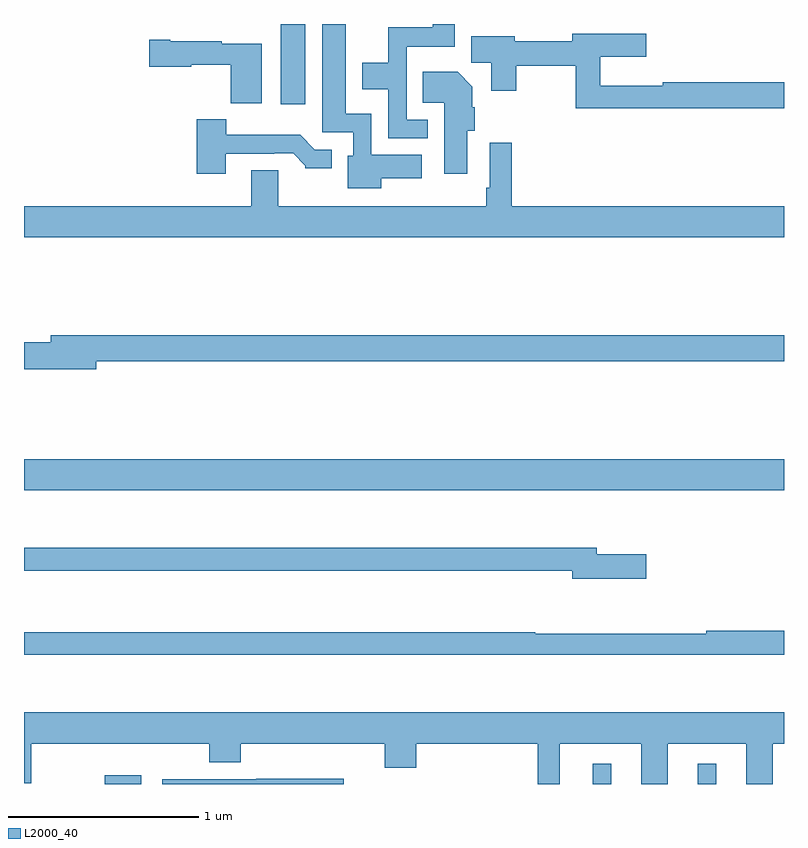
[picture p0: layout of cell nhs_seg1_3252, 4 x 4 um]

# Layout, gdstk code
import gdstk
lib = gdstk.Library(unit=1e-6, precision=1e-09)
def R(c, l, rs):  # rectangles x0, y0, x1, y1
    for r in rs: c.add(gdstk.rectangle(r[:2], r[2:], *l))
def P(c, l, *ps):  # polygons
    for p in ps: c.add(gdstk.Polygon(p, *l))
L2000_40 = (2000, 40)

nhs_seg1_3252 = lib.new_cell('nhs_seg1_3252')
R(nhs_seg1_3252, L2000_40, [(287.424,538.199,287.617,538.246), (289.994,538.199,290.092,538.306), (290.546,538.199,290.644,538.306), (287,539.744,291,539.908), (288.35,541.776,288.481,542.199)])
P(nhs_seg1_3252, L2000_40, [(289.126,541.695),(289.014,541.695),(289.014,542.078),(289.267,542.078),(289.267,542.199),(289.151,542.199),(289.151,542.182),(288.916,542.182),(288.916,541.996),(288.779,541.996),(288.779,541.856),(288.918,541.856),(288.918,541.599),(289.126,541.599)],
  [(288.881,541.388),(289.093,541.388),(289.093,541.51),(288.828,541.51),(288.828,541.726),(288.694,541.726),(288.694,542.199),(288.569,542.199),(288.569,541.629),(288.732,541.629),(288.732,541.506),(288.704,541.506),(288.704,541.334),(288.881,541.334)],
  [(291,541.892),(290.362,541.892),(290.362,541.873),(290.033,541.873),(290.033,542.027),(290.275,542.027),(290.275,542.149),(289.886,542.149),(289.886,542.107),(289.582,542.107),(289.582,542.134),(289.355,542.134),(289.355,541.996),(289.46,541.996),(289.46,541.848),(289.59,541.848),(289.59,541.978),(289.905,541.978),(289.905,541.756),(291,541.756)],
  [(288.25,542.095),(288.042,542.095),(288.042,542.107),(287.77,542.107),(287.77,542.115),(287.658,542.115),(287.658,541.973),(287.88,541.973),(287.88,541.985),(288.088,541.985),(288.088,541.781),(288.25,541.781)],
  [(289.333,541.638),(289.373,541.638),(289.373,541.76),(289.36,541.76),(289.36,541.87),(289.282,541.948),(289.099,541.948),(289.099,541.784),(289.211,541.784),(289.211,541.41),(289.333,541.41)],
  [(288.061,541.515),(288.317,541.515),(288.317,541.518),(288.416,541.518),(288.48,541.454),(288.48,541.439),(288.619,541.439),(288.619,541.536),(288.531,541.536),(288.453,541.615),(288.064,541.615),(288.064,541.699),(287.909,541.699),(287.909,541.41),(288.061,541.41)],
  [(291,541.24),(289.568,541.24),(289.568,541.573),(289.452,541.573),(289.452,541.336),(289.432,541.336),(289.432,541.24),(288.337,541.24),(288.337,541.43),(288.197,541.43),(288.197,541.24),(287,541.24),(287,541.076),(291,541.076)],
  [(287.38,540.424),(291,540.424),(291,540.56),(287.141,540.56),(287.141,540.524),(287,540.524),(287,540.382),(287.38,540.382)],
  [(290.275,539.409),(290.014,539.409),(290.014,539.443),(287,539.443),(287,539.322),(289.886,539.322),(289.886,539.279),(290.275,539.279)],
  [(291,539.006),(290.591,539.006),(290.591,538.991),(289.691,538.991),(289.691,538.999),(287,538.999),(287,538.878),(291,538.878)],
  [(289.819,538.412),(290.249,538.412),(290.249,538.199),(290.389,538.199),(290.389,538.412),(290.801,538.412),(290.801,538.199),(290.941,538.199),(290.941,538.412),(291,538.412),(291,538.576),(287,538.576),(287,538.204),(287.037,538.204),(287.037,538.412),(287.975,538.412),(287.975,538.313),(288.14,538.313),(288.14,538.412),(288.899,538.412),(288.899,538.284),(289.064,538.284),(289.064,538.412),(289.705,538.412),(289.705,538.199),(289.819,538.199)],
  [(288.684,538.226),(288.223,538.226),(288.223,538.224),(287.727,538.224),(287.727,538.199),(288.684,538.199)])

lib.write_gds('nhs_seg1_3252.gds')
